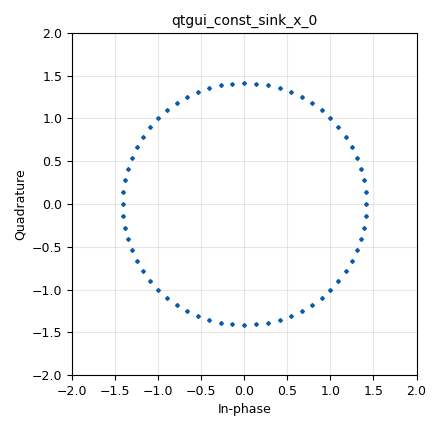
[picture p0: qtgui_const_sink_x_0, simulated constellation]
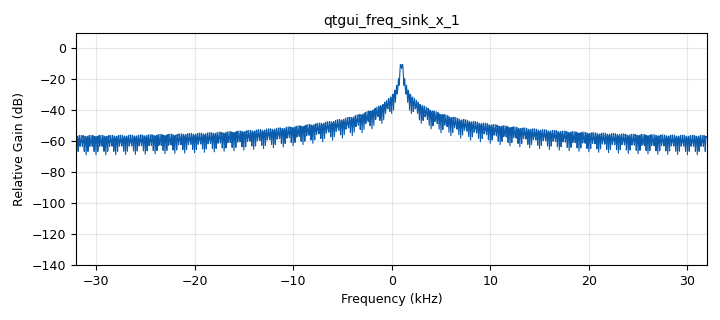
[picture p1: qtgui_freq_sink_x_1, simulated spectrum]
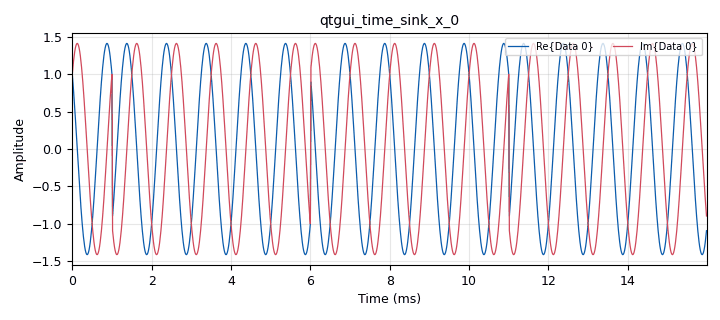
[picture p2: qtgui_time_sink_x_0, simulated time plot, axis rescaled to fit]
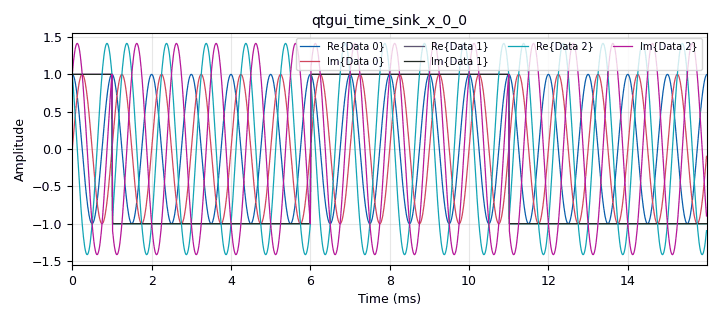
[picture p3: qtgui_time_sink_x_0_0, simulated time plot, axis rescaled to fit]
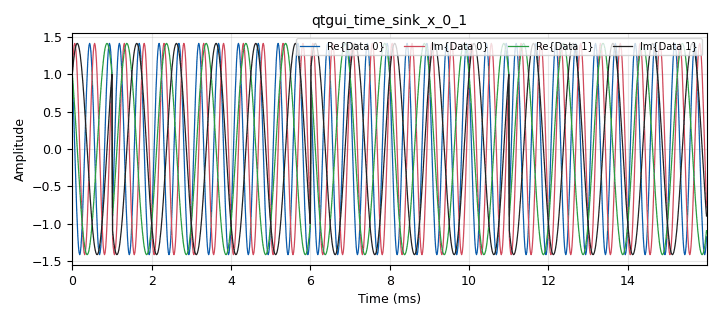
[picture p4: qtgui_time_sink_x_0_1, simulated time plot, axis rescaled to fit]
options:
  parameters:
    generate_options: qt_gui
    id: psk
    output_language: python
    title: Not titled yet
  states: {}

blocks:
- name: cw_frq
  id: variable_qtgui_range
  parameters:
    label: cw_frq
    orient: Qt.Horizontal
    start: 1e3
    step: '100'
    stop: 16e3
    value: 1e3
  states: {}
- name: samp_rate
  id: variable
  parameters:
    value: 64e3
  states: {}
- name: variable_qtgui_chooser_0
  id: variable_qtgui_chooser
  parameters:
    label0: Square_wave
    label1: Zero
    num_opts: '2'
    option0: '0'
    option1: '1'
    type: int
    value: '0'
  states: {}
- name: analog_sig_source_x_0
  id: analog_sig_source_x
  parameters:
    amp: '1'
    freq: cw_frq
    offset: '0'
    phase: '0'
    samp_rate: samp_rate
    type: complex
    waveform: analog.GR_COS_WAVE
  states: {}
- name: analog_sig_source_x_0_0
  id: analog_sig_source_x
  parameters:
    amp: '1'
    freq: cw_frq
    offset: '0'
    phase: '0'
    samp_rate: samp_rate
    type: complex
    waveform: analog.GR_COS_WAVE
  states: {}
- name: analog_sig_source_x_1
  id: analog_sig_source_x
  parameters:
    amp: '2'
    freq: cw_frq/10
    offset: '-1'
    phase: '0'
    samp_rate: samp_rate
    type: float
    waveform: analog.GR_SQR_WAVE
  states: {}
- name: blocks_float_to_complex_0
  id: blocks_float_to_complex
  parameters: {}
  states: {}
- name: blocks_multiply_xx_0
  id: blocks_multiply_xx
  parameters:
    type: complex
  states: {}
- name: blocks_multiply_xx_0_0
  id: blocks_multiply_xx
  parameters:
    type: complex
  states: {}
- name: qtgui_const_sink_x_0
  id: qtgui_const_sink_x
  parameters:
    gui_hint: tabs@3
    size: '1024'
    type: complex
  states: {}
- name: qtgui_freq_sink_x_0
  id: qtgui_freq_sink_x
  parameters:
    bw: samp_rate
    ctrlpanel: 'True'
    fc: '0'
    fftsize: '1024'
    gui_hint: tabs@1
    type: complex
    wintype: firdes.WIN_BLACKMAN_hARRIS
  states: {state: disabled}
- name: qtgui_freq_sink_x_1
  id: qtgui_freq_sink_x
  parameters:
    bw: samp_rate
    ctrlpanel: 'True'
    fc: '0'
    fftsize: '1024'
    gui_hint: tabs@1
    type: complex
    wintype: firdes.WIN_BLACKMAN_hARRIS
  states: {}
- name: qtgui_time_sink_x_0
  id: qtgui_time_sink_x
  parameters:
    ctrlpanel: 'True'
    gui_hint: tabs@2
    size: '1024'
    srate: samp_rate
    type: complex
  states: {}
- name: qtgui_time_sink_x_0_0
  id: qtgui_time_sink_x
  parameters:
    ctrlpanel: 'True'
    gui_hint: tabs@0
    nconnections: '3'
    size: '1024'
    srate: samp_rate
    type: complex
  states: {}
- name: qtgui_time_sink_x_0_1
  id: qtgui_time_sink_x
  parameters:
    ctrlpanel: 'True'
    gui_hint: tabs@4
    nconnections: '2'
    size: '1024'
    srate: samp_rate
    type: complex
  states: {}
- name: tabs
  id: qtgui_tab_widget
  parameters:
    label0: 1_time_input
    label1: 2_freq
    label2: 3_mult_input
    label3: 4_constelation
    label4: 5_freq_mult
    label5: Tab 5
    num_tabs: '6'
  states: {}

connections:
- [analog_sig_source_x_0, '0', blocks_multiply_xx_0, '0']
- [analog_sig_source_x_0, '0', qtgui_freq_sink_x_0, '0']
- [analog_sig_source_x_0, '0', qtgui_time_sink_x_0_0, '0']
- [analog_sig_source_x_0_0, '0', blocks_multiply_xx_0_0, '1']
- [analog_sig_source_x_1, '0', blocks_float_to_complex_0, '0']
- [analog_sig_source_x_1, '0', blocks_float_to_complex_0, '1']
- [blocks_float_to_complex_0, '0', blocks_multiply_xx_0, '1']
- [blocks_float_to_complex_0, '0', qtgui_time_sink_x_0_0, '1']
- [blocks_multiply_xx_0, '0', blocks_multiply_xx_0_0, '0']
- [blocks_multiply_xx_0, '0', qtgui_const_sink_x_0, '0']
- [blocks_multiply_xx_0, '0', qtgui_freq_sink_x_1, '0']
- [blocks_multiply_xx_0, '0', qtgui_time_sink_x_0, '0']
- [blocks_multiply_xx_0, '0', qtgui_time_sink_x_0_0, '2']
- [blocks_multiply_xx_0, '0', qtgui_time_sink_x_0_1, '1']
- [blocks_multiply_xx_0_0, '0', qtgui_time_sink_x_0_1, '0']

metadata:
  file_format: 1
